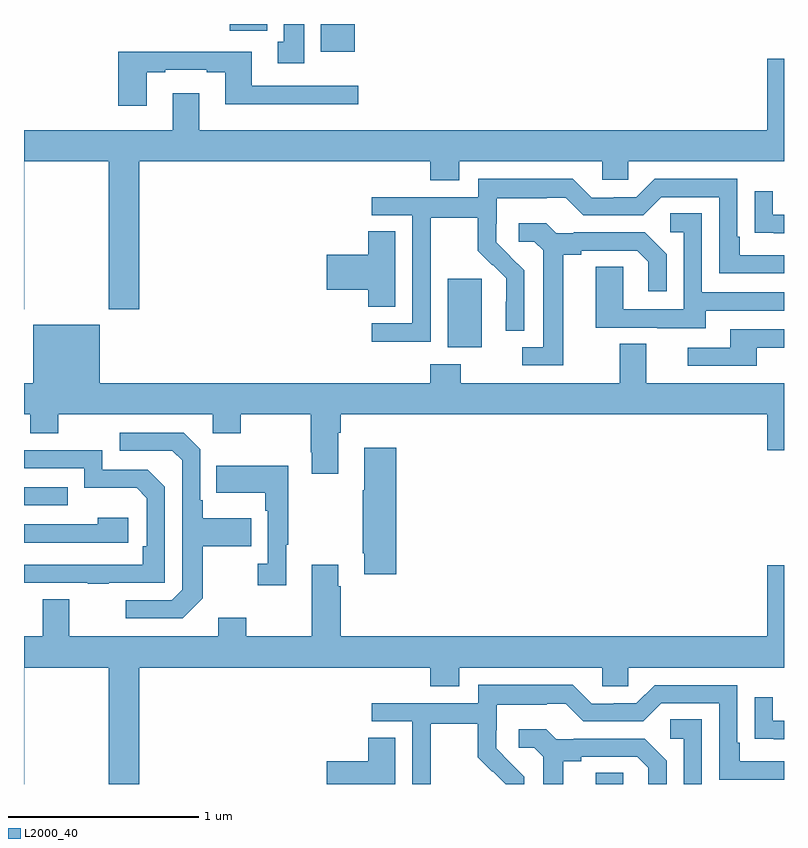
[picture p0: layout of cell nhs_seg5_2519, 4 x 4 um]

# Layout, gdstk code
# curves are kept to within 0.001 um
import gdstk
lib = gdstk.Library(unit=1e-6, precision=1e-09)
def R(c, l, rs):  # rectangles x0, y0, x1, y1
    for r in rs: c.add(gdstk.rectangle(r[:2], r[2:], *l))
def P(c, l, *ps):  # polygons
    for p in ps: c.add(gdstk.Polygon(p, *l))
L2000_40 = (2000, 40)

nhs_seg5_2519 = lib.new_cell('nhs_seg5_2519')
R(nhs_seg5_2519, L2000_40, [(260.009,870.799,260.154,870.857), (257,872.265,257.231,872.361), (259.229,873.098,259.408,873.459), (258.563,874.652,258.742,874.799), (258.083,874.764,258.279,874.799)])
P(nhs_seg5_2519, L2000_40, [(258.475,874.799),(258.368,874.799),(258.368,874.705),(258.335,874.705),(258.335,874.593),(258.475,874.593)],
  [(257.647,874.545),(257.743,874.545),(257.743,874.557),(257.963,874.557),(257.963,874.545),(258.059,874.545),(258.059,874.376),(258.76,874.376),(258.76,874.473),(258.199,874.473),(258.199,874.654),(257.495,874.654),(257.495,874.368),(257.647,874.368)],
  [(257.001,874.076),(257.446,874.076),(257.446,873.297),(257.606,873.297),(257.606,874.076),(259.139,874.076),(259.139,873.977),(259.291,873.977),(259.291,874.076),(260.043,874.076),(260.043,873.978),(260.181,873.978),(260.181,874.076),(261,874.076),(261,874.615),(260.912,874.615),(260.912,874.24),(257.923,874.24),(257.923,874.435),(257.783,874.435),(257.783,874.24),(257,874.24),(257,873.297),(257.001,873.297)],
  [(259.14,873.556),(259.142,873.556),(259.142,873.78),(259.387,873.78),(259.387,873.605),(259.464,873.528),(259.467,873.531),(259.538,873.461),(259.538,873.338),(259.536,873.338),(259.536,873.184),(259.632,873.184),(259.632,873.502),(259.486,873.65),(259.486,873.747),(259.488,873.747),(259.488,873.881),(259.751,873.881),(259.751,873.885),(259.851,873.885),(259.944,873.792),(260.259,873.792),(260.355,873.888),(260.658,873.888),(260.658,873.486),(261,873.486),(261,873.582),(260.767,873.582),(260.767,873.679),(260.754,873.679),(260.754,873.984),(260.319,873.984),(260.223,873.888),(260.105,873.888),(260.105,873.885),(259.989,873.885),(259.889,873.985),(259.392,873.985),(259.392,873.888),(258.831,873.888),(258.831,873.792),(259.044,873.792),(259.044,873.225),(258.831,873.225),(258.831,873.127),(259.14,873.127)],
  [(261,873.795),(260.941,873.795),(260.941,873.919),(260.845,873.919),(260.845,873.7),(260.947,873.7),(260.947,873.699),(261,873.699)],
  [(260.587,873.291),(261,873.291),(261,873.387),(260.568,873.387),(260.568,873.803),(260.4,873.803),(260.4,873.702),(260.472,873.702),(260.472,873.297),(260.154,873.297),(260.154,873.521),(260.009,873.521),(260.009,873.201),(260.333,873.201),(260.333,873.197),(260.587,873.197)],
  [(259.837,873.584),(259.933,873.584),(259.933,873.606),(260.228,873.606),(260.285,873.549),(260.285,873.393),(260.382,873.393),(260.382,873.586),(260.266,873.702),(259.894,873.702),(259.894,873.699),(259.8,873.699),(259.748,873.751),(259.605,873.751),(259.605,873.654),(259.686,873.654),(259.733,873.607),(259.733,873.099),(259.623,873.099),(259.623,873.003),(259.837,873.003)],
  [(258.955,873.707),(258.812,873.707),(258.812,873.584),(258.594,873.584),(258.594,873.401),(258.812,873.401),(258.812,873.31),(258.955,873.31)],
  [(258.655,872.648),(258.668,872.648),(258.668,872.744),(260.912,872.744),(260.912,872.556),(261,872.556),(261,872.908),(260.275,872.908),(260.275,873.116),(260.135,873.116),(260.135,872.908),(259.299,872.908),(259.299,873.007),(259.139,873.007),(259.139,872.908),(257.398,872.908),(257.398,873.217),(257.048,873.217),(257.048,872.908),(257,872.908),(257,872.744),(257.033,872.744),(257.033,872.645),(257.181,872.645),(257.181,872.744),(257.994,872.744),(257.994,872.645),(258.141,872.645),(258.141,872.744),(258.508,872.744),(258.508,872.545),(258.515,872.545),(258.515,872.433),(258.655,872.433)],
  [(260.857,873.096),(261,873.096),(261,873.192),(260.717,873.192),(260.717,873.096),(260.493,873.096),(260.493,873),(260.857,873)],
  [(257.941,871.777),(257.941,872.05),(258.197,872.05),(258.197,872.197),(257.941,872.197),(257.941,872.293),(257.928,872.293),(257.928,872.562),(257.841,872.649),(257.505,872.649),(257.505,872.553),(257.781,872.553),(257.832,872.502),(257.832,871.821),(257.778,871.767),(257.535,871.767),(257.535,871.671),(257.835,871.671)],
  [(258.959,872.569),(258.791,872.569),(258.791,872.345),(258.784,872.345),(258.784,872.014),(258.791,872.014),(258.791,871.902),(258.959,871.902)],
  [(257.447,871.857),(257.742,871.857),(257.742,872.364),(257.652,872.454),(257.412,872.454),(257.412,872.556),(257,872.556),(257,872.46),(257.316,872.46),(257.316,872.357),(257.593,872.357),(257.646,872.304),(257.646,872.05),(257.626,872.05),(257.626,871.953),(257,871.953),(257,871.857),(257.335,871.857),(257.335,871.852),(257.447,871.852)],
  [(258.379,872.057),(258.391,872.057),(258.391,872.473),(258.013,872.473),(258.013,872.333),(258.27,872.333),(258.27,872.237),(258.282,872.237),(258.282,871.958),(258.231,871.958),(258.231,871.845),(258.379,871.845)],
  [(257.548,872.2),(257.387,872.2),(257.387,872.166),(257,872.166),(257,872.07),(257.548,872.07)],
  [(259.139,871.313),(259.291,871.313),(259.291,871.412),(260.043,871.412),(260.043,871.314),(260.181,871.314),(260.181,871.412),(261,871.412),(261,871.951),(260.912,871.951),(260.912,871.576),(258.668,871.576),(258.668,871.841),(258.655,871.841),(258.655,871.954),(258.515,871.954),(258.515,871.576),(258.171,871.576),(258.171,871.675),(258.023,871.675),(258.023,871.576),(257.239,871.576),(257.239,871.771),(257.099,871.771),(257.099,871.576),(257,871.576),(257,870.799),(257.001,870.799),(257.001,871.412),(257.446,871.412),(257.446,870.799),(257.606,870.799),(257.606,871.412),(259.139,871.412)],
  [(259.14,870.892),(259.142,870.892),(259.142,871.116),(259.387,871.116),(259.387,870.941),(259.464,870.864),(259.467,870.867),(259.536,870.799),(259.632,870.799),(259.632,870.838),(259.486,870.986),(259.486,871.083),(259.488,871.083),(259.488,871.217),(259.751,871.217),(259.751,871.221),(259.851,871.221),(259.944,871.128),(260.259,871.128),(260.355,871.224),(260.658,871.224),(260.658,870.822),(261,870.822),(261,870.918),(260.767,870.918),(260.767,871.015),(260.754,871.015),(260.754,871.32),(260.319,871.32),(260.223,871.224),(260.105,871.224),(260.105,871.221),(259.989,871.221),(259.889,871.321),(259.392,871.321),(259.392,871.224),(258.831,871.224),(258.831,871.128),(259.044,871.128),(259.044,870.799),(259.14,870.799)],
  [(261,871.131),(260.941,871.131),(260.941,871.255),(260.845,871.255),(260.845,871.036),(260.947,871.036),(260.947,871.035),(261,871.035)],
  [(260.568,871.139),(260.4,871.139),(260.4,871.038),(260.472,871.038),(260.472,870.799),(260.568,870.799)],
  [(259.837,870.92),(259.933,870.92),(259.933,870.942),(260.228,870.942),(260.285,870.885),(260.285,870.799),(260.382,870.799),(260.382,870.922),(260.266,871.038),(259.894,871.038),(259.894,871.035),(259.8,871.035),(259.748,871.087),(259.605,871.087),(259.605,870.99),(259.686,870.99),(259.733,870.943),(259.733,870.799),(259.837,870.799)],
  [(258.955,871.043),(258.812,871.043),(258.812,870.92),(258.594,870.92),(258.594,870.799),(258.955,870.799)])

lib.write_gds('nhs_seg5_2519.gds')
